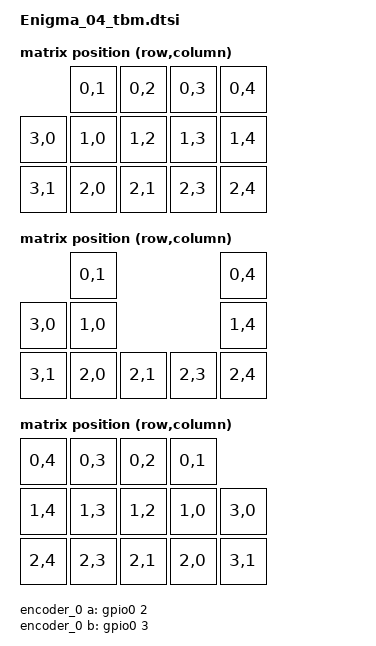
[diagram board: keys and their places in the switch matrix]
#include <dt-bindings/zmk/matrix_transform.h>

/ {
    chosen {
        zmk,kscan = &kscan_tbm0;
        zmk,studio-rpc = &studio_usb;
    };
  
    transform_tbm0: transform_tbm0 {
        compatible = "zmk,matrix-transform";
        columns = <5>;
        rows = <4>;               
        map = <
                  RC(0,1) RC(0,2) RC(0,3) RC(0,4)
          RC(3,0) RC(1,0) RC(1,2) RC(1,3) RC(1,4)
          RC(3,1) RC(2,0) RC(2,1) RC(2,3) RC(2,4)
        >;
    };

    transform_tbm1: transform_tbm1 {
        compatible = "zmk,matrix-transform";
        columns = <5>;
        rows = <4>;               
        map = <
                  RC(0,1)                 RC(0,4)
          RC(3,0) RC(1,0)                 RC(1,4)
          RC(3,1) RC(2,0) RC(2,1) RC(2,3) RC(2,4)
        >;
    };

    transform_tbm2: transform_tbm2 {
        compatible = "zmk,matrix-transform";
        columns = <5>;
        rows = <4>;               
        map = <
            RC(0,4) RC(0,3) RC(0,2) RC(0,1)
            RC(1,4) RC(1,3) RC(1,2) RC(1,0) RC(3,0)
            RC(2,4) RC(2,3) RC(2,1) RC(2,0) RC(3,1)
        >;
    };

    transform_tbm3: transform_tbm3 {
        compatible = "zmk,matrix-transform";
        columns = <5>;
        rows = <4>;               
        map = <
            RC(0,4)                 RC(0,1)
            RC(1,4)                 RC(1,0) RC(3,0)
            RC(2,4) RC(2,3) RC(2,1) RC(2,0) RC(3,1)
        >;
    };

    kscan_tbm0: kscan_tbm0 {
        compatible = "zmk,kscan-gpio-charlieplex";
        interrupt-gpios = <&gpio1 11 (GPIO_ACTIVE_HIGH | GPIO_PULL_DOWN)>;
                gpios = <&gpio1 15 GPIO_ACTIVE_HIGH>,
                <&gpio1 12 GPIO_ACTIVE_HIGH>,
                <&gpio0 9 GPIO_ACTIVE_HIGH>,
                <&gpio0 10 GPIO_ACTIVE_HIGH>,
                <&gpio0 29 GPIO_ACTIVE_HIGH>;
    };

    studio_usb: studio_usb {
        compatible = "zmk,studio-rpc-usb-uart";
    };

    encoder_0: encoder_0 {
        compatible = "alps,ec11";
        a-gpios = <&gpio0 2 (GPIO_ACTIVE_HIGH | GPIO_PULL_UP)>;
        b-gpios = <&gpio0 3 (GPIO_ACTIVE_HIGH | GPIO_PULL_UP)>;
        steps = <12>;
        status = "disabled";
    };

    sensors_0: sensors_0 {
        compatible = "zmk,keymap-sensors";
        sensors = <&encoder_0>;
        triggers-per-rotation = <10>;
    };
};

&pinctrl {
    spi0_default: spi0_default {
        group1 {
            psels = <NRF_PSEL(SPIM_SCK, 0, 5)>, //SCLK
                    <NRF_PSEL(SPIM_MOSI, 0, 4)>, //SDIO
                    <NRF_PSEL(SPIM_MISO, 0, 4)>; //SDIO
        };
    };

    spi0_sleep: spi0_sleep {
        group1 {
            psels = <NRF_PSEL(SPIM_SCK, 0, 5)>, //SCLK
                    <NRF_PSEL(SPIM_MOSI, 0, 4)>, //SDIO
                    <NRF_PSEL(SPIM_MISO, 0, 4)>; //SDIO
            low-power-enable;
        };
    };
};
